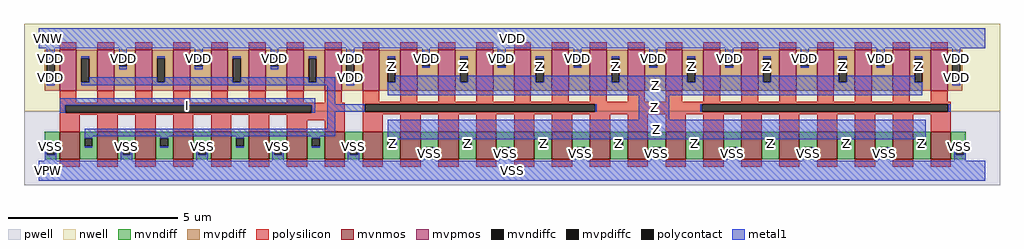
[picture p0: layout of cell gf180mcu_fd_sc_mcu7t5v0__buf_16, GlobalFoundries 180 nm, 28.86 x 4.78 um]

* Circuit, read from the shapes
.subckt gf180mcu_fd_sc_mcu7t5v0__buf_16 I Z VDD VNW VPW VSS
XM1 n1 I VSS VPW nfet_06v0 w=0.82u l=0.6u m=8
XM2 Z n1 VSS VPW nfet_06v0 w=0.82u l=0.6u m=16
XM3 n1 I VDD VNW pfet_06v0 w=1.22u l=0.5u m=8
XM4 Z n1 VDD VNW pfet_06v0 w=1.22u l=0.5u m=16
.ends

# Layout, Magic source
magic
tech gf180mcuD
magscale 1 10
<< nwell >>
rect -86 352 5686 870
<< pwell >>
rect -86 -86 5686 352
<< mvnmos >>
rect 124 68 244 232
rect 348 68 468 232
rect 572 68 692 232
rect 796 68 916 232
rect 1020 68 1140 232
rect 1244 68 1364 232
rect 1468 68 1588 232
rect 1692 68 1812 232
rect 1916 68 2036 232
rect 2140 68 2260 232
rect 2364 68 2484 232
rect 2588 68 2708 232
rect 2812 68 2932 232
rect 3036 68 3156 232
rect 3260 68 3380 232
rect 3484 68 3604 232
rect 3708 68 3828 232
rect 3932 68 4052 232
rect 4156 68 4276 232
rect 4380 68 4500 232
rect 4604 68 4724 232
rect 4828 68 4948 232
rect 5052 68 5172 232
rect 5276 68 5396 232
<< mvpmos >>
rect 124 472 224 716
rect 348 472 448 716
rect 572 472 672 716
rect 796 472 896 716
rect 1020 472 1120 716
rect 1244 472 1344 716
rect 1468 472 1568 716
rect 1692 472 1792 716
rect 1916 472 2016 716
rect 2140 472 2240 716
rect 2364 472 2464 716
rect 2588 472 2688 716
rect 2812 472 2912 716
rect 3036 472 3136 716
rect 3260 472 3360 716
rect 3484 472 3584 716
rect 3708 472 3808 716
rect 3932 472 4032 716
rect 4156 472 4256 716
rect 4380 472 4480 716
rect 4604 472 4704 716
rect 4828 472 4928 716
rect 5052 472 5152 716
rect 5276 472 5376 716
<< mvndiff >>
rect 36 142 124 232
rect 36 96 49 142
rect 95 96 124 142
rect 36 68 124 96
rect 244 192 348 232
rect 244 146 273 192
rect 319 146 348 192
rect 244 68 348 146
rect 468 142 572 232
rect 468 96 497 142
rect 543 96 572 142
rect 468 68 572 96
rect 692 192 796 232
rect 692 146 721 192
rect 767 146 796 192
rect 692 68 796 146
rect 916 142 1020 232
rect 916 96 945 142
rect 991 96 1020 142
rect 916 68 1020 96
rect 1140 192 1244 232
rect 1140 146 1169 192
rect 1215 146 1244 192
rect 1140 68 1244 146
rect 1364 142 1468 232
rect 1364 96 1393 142
rect 1439 96 1468 142
rect 1364 68 1468 96
rect 1588 192 1692 232
rect 1588 146 1617 192
rect 1663 146 1692 192
rect 1588 68 1692 146
rect 1812 142 1916 232
rect 1812 96 1841 142
rect 1887 96 1916 142
rect 1812 68 1916 96
rect 2036 192 2140 232
rect 2036 146 2065 192
rect 2111 146 2140 192
rect 2036 68 2140 146
rect 2260 140 2364 232
rect 2260 94 2289 140
rect 2335 94 2364 140
rect 2260 68 2364 94
rect 2484 192 2588 232
rect 2484 146 2513 192
rect 2559 146 2588 192
rect 2484 68 2588 146
rect 2708 140 2812 232
rect 2708 94 2737 140
rect 2783 94 2812 140
rect 2708 68 2812 94
rect 2932 192 3036 232
rect 2932 146 2961 192
rect 3007 146 3036 192
rect 2932 68 3036 146
rect 3156 140 3260 232
rect 3156 94 3185 140
rect 3231 94 3260 140
rect 3156 68 3260 94
rect 3380 192 3484 232
rect 3380 146 3409 192
rect 3455 146 3484 192
rect 3380 68 3484 146
rect 3604 140 3708 232
rect 3604 94 3633 140
rect 3679 94 3708 140
rect 3604 68 3708 94
rect 3828 192 3932 232
rect 3828 146 3857 192
rect 3903 146 3932 192
rect 3828 68 3932 146
rect 4052 140 4156 232
rect 4052 94 4081 140
rect 4127 94 4156 140
rect 4052 68 4156 94
rect 4276 192 4380 232
rect 4276 146 4305 192
rect 4351 146 4380 192
rect 4276 68 4380 146
rect 4500 140 4604 232
rect 4500 94 4529 140
rect 4575 94 4604 140
rect 4500 68 4604 94
rect 4724 192 4828 232
rect 4724 146 4753 192
rect 4799 146 4828 192
rect 4724 68 4828 146
rect 4948 140 5052 232
rect 4948 94 4977 140
rect 5023 94 5052 140
rect 4948 68 5052 94
rect 5172 192 5276 232
rect 5172 146 5201 192
rect 5247 146 5276 192
rect 5172 68 5276 146
rect 5396 142 5484 232
rect 5396 96 5425 142
rect 5471 96 5484 142
rect 5396 68 5484 96
<< mvpdiff >>
rect 36 665 124 716
rect 36 525 49 665
rect 95 525 124 665
rect 36 472 124 525
rect 224 665 348 716
rect 224 525 253 665
rect 299 525 348 665
rect 224 472 348 525
rect 448 665 572 716
rect 448 619 477 665
rect 523 619 572 665
rect 448 472 572 619
rect 672 665 796 716
rect 672 525 701 665
rect 747 525 796 665
rect 672 472 796 525
rect 896 665 1020 716
rect 896 619 925 665
rect 971 619 1020 665
rect 896 472 1020 619
rect 1120 665 1244 716
rect 1120 525 1149 665
rect 1195 525 1244 665
rect 1120 472 1244 525
rect 1344 665 1468 716
rect 1344 619 1373 665
rect 1419 619 1468 665
rect 1344 472 1468 619
rect 1568 665 1692 716
rect 1568 525 1597 665
rect 1643 525 1692 665
rect 1568 472 1692 525
rect 1792 665 1916 716
rect 1792 525 1821 665
rect 1867 525 1916 665
rect 1792 472 1916 525
rect 2016 665 2140 716
rect 2016 525 2065 665
rect 2111 525 2140 665
rect 2016 472 2140 525
rect 2240 665 2364 716
rect 2240 619 2269 665
rect 2315 619 2364 665
rect 2240 472 2364 619
rect 2464 665 2588 716
rect 2464 525 2493 665
rect 2539 525 2588 665
rect 2464 472 2588 525
rect 2688 665 2812 716
rect 2688 619 2717 665
rect 2763 619 2812 665
rect 2688 472 2812 619
rect 2912 665 3036 716
rect 2912 525 2941 665
rect 2987 525 3036 665
rect 2912 472 3036 525
rect 3136 665 3260 716
rect 3136 619 3165 665
rect 3211 619 3260 665
rect 3136 472 3260 619
rect 3360 665 3484 716
rect 3360 525 3389 665
rect 3435 525 3484 665
rect 3360 472 3484 525
rect 3584 665 3708 716
rect 3584 619 3613 665
rect 3659 619 3708 665
rect 3584 472 3708 619
rect 3808 665 3932 716
rect 3808 525 3837 665
rect 3883 525 3932 665
rect 3808 472 3932 525
rect 4032 665 4156 716
rect 4032 619 4061 665
rect 4107 619 4156 665
rect 4032 472 4156 619
rect 4256 665 4380 716
rect 4256 525 4285 665
rect 4331 525 4380 665
rect 4256 472 4380 525
rect 4480 665 4604 716
rect 4480 619 4509 665
rect 4555 619 4604 665
rect 4480 472 4604 619
rect 4704 665 4828 716
rect 4704 525 4733 665
rect 4779 525 4828 665
rect 4704 472 4828 525
rect 4928 665 5052 716
rect 4928 619 4957 665
rect 5003 619 5052 665
rect 4928 472 5052 619
rect 5152 665 5276 716
rect 5152 525 5181 665
rect 5227 525 5276 665
rect 5152 472 5276 525
rect 5376 665 5464 716
rect 5376 525 5405 665
rect 5451 525 5464 665
rect 5376 472 5464 525
<< mvndiffc >>
rect 49 96 95 142
rect 273 146 319 192
rect 497 96 543 142
rect 721 146 767 192
rect 945 96 991 142
rect 1169 146 1215 192
rect 1393 96 1439 142
rect 1617 146 1663 192
rect 1841 96 1887 142
rect 2065 146 2111 192
rect 2289 94 2335 140
rect 2513 146 2559 192
rect 2737 94 2783 140
rect 2961 146 3007 192
rect 3185 94 3231 140
rect 3409 146 3455 192
rect 3633 94 3679 140
rect 3857 146 3903 192
rect 4081 94 4127 140
rect 4305 146 4351 192
rect 4529 94 4575 140
rect 4753 146 4799 192
rect 4977 94 5023 140
rect 5201 146 5247 192
rect 5425 96 5471 142
<< mvpdiffc >>
rect 49 525 95 665
rect 253 525 299 665
rect 477 619 523 665
rect 701 525 747 665
rect 925 619 971 665
rect 1149 525 1195 665
rect 1373 619 1419 665
rect 1597 525 1643 665
rect 1821 525 1867 665
rect 2065 525 2111 665
rect 2269 619 2315 665
rect 2493 525 2539 665
rect 2717 619 2763 665
rect 2941 525 2987 665
rect 3165 619 3211 665
rect 3389 525 3435 665
rect 3613 619 3659 665
rect 3837 525 3883 665
rect 4061 619 4107 665
rect 4285 525 4331 665
rect 4509 619 4555 665
rect 4733 525 4779 665
rect 4957 619 5003 665
rect 5181 525 5227 665
rect 5405 525 5451 665
<< polysilicon >>
rect 124 716 224 760
rect 348 716 448 760
rect 572 716 672 760
rect 796 716 896 760
rect 1020 716 1120 760
rect 1244 716 1344 760
rect 1468 716 1568 760
rect 1692 716 1792 760
rect 1916 716 2016 760
rect 2140 716 2240 760
rect 2364 716 2464 760
rect 2588 716 2688 760
rect 2812 716 2912 760
rect 3036 716 3136 760
rect 3260 716 3360 760
rect 3484 716 3584 760
rect 3708 716 3808 760
rect 3932 716 4032 760
rect 4156 716 4256 760
rect 4380 716 4480 760
rect 4604 716 4704 760
rect 4828 716 4928 760
rect 5052 716 5152 760
rect 5276 716 5376 760
rect 124 402 224 472
rect 348 402 448 472
rect 572 402 672 472
rect 796 402 896 472
rect 1020 402 1120 472
rect 1244 402 1344 472
rect 1468 402 1568 472
rect 1692 402 1792 472
rect 1916 407 2016 472
rect 2140 407 2240 472
rect 2364 407 2464 472
rect 2588 407 2688 472
rect 2812 407 2912 472
rect 3036 407 3136 472
rect 3260 407 3360 472
rect 3484 407 3584 472
rect 3708 407 3808 472
rect 3932 407 4032 472
rect 4156 407 4256 472
rect 4380 407 4480 472
rect 4604 407 4704 472
rect 4828 407 4928 472
rect 5052 407 5152 472
rect 5276 407 5376 472
rect 124 389 1812 402
rect 124 343 159 389
rect 1615 343 1812 389
rect 124 330 1812 343
rect 124 232 244 330
rect 348 232 468 330
rect 572 232 692 330
rect 796 232 916 330
rect 1020 232 1140 330
rect 1244 232 1364 330
rect 1468 300 1812 330
rect 1468 232 1588 300
rect 1692 232 1812 300
rect 1916 394 5396 407
rect 1916 348 1929 394
rect 3291 348 3923 394
rect 5379 348 5396 394
rect 1916 335 5396 348
rect 1916 232 2036 335
rect 2140 232 2260 335
rect 2364 232 2484 335
rect 2588 232 2708 335
rect 2812 232 2932 335
rect 3036 232 3156 335
rect 3260 232 3380 335
rect 3484 232 3604 335
rect 3708 232 3828 335
rect 3932 232 4052 335
rect 4156 232 4276 335
rect 4380 232 4500 335
rect 4604 232 4724 335
rect 4828 232 4948 335
rect 5052 232 5172 335
rect 5276 232 5396 335
rect 124 24 244 68
rect 348 24 468 68
rect 572 24 692 68
rect 796 24 916 68
rect 1020 24 1140 68
rect 1244 24 1364 68
rect 1468 24 1588 68
rect 1692 24 1812 68
rect 1916 24 2036 68
rect 2140 24 2260 68
rect 2364 24 2484 68
rect 2588 24 2708 68
rect 2812 24 2932 68
rect 3036 24 3156 68
rect 3260 24 3380 68
rect 3484 24 3604 68
rect 3708 24 3828 68
rect 3932 24 4052 68
rect 4156 24 4276 68
rect 4380 24 4500 68
rect 4604 24 4724 68
rect 4828 24 4948 68
rect 5052 24 5172 68
rect 5276 24 5396 68
<< polycontact >>
rect 159 343 1615 389
rect 1929 348 3291 394
rect 3923 348 5379 394
<< metal1 >>
rect 0 724 5600 844
rect 49 665 95 724
rect 49 506 95 525
rect 253 665 299 676
rect 477 665 523 724
rect 477 600 523 619
rect 701 665 747 676
rect 299 525 701 552
rect 925 665 971 724
rect 925 600 971 619
rect 1149 665 1195 676
rect 747 525 1149 552
rect 1373 665 1419 724
rect 1373 600 1419 619
rect 1597 665 1643 676
rect 1195 525 1597 552
rect 1821 665 1867 724
rect 1643 525 1754 552
rect 253 506 1754 525
rect 1821 506 1867 525
rect 2065 665 2111 676
rect 2269 665 2315 724
rect 2269 608 2315 619
rect 2493 665 2539 676
rect 2111 525 2493 562
rect 2717 665 2763 724
rect 2717 608 2763 619
rect 2941 665 2987 676
rect 2539 525 2941 562
rect 3165 665 3211 724
rect 3165 608 3211 619
rect 3389 665 3435 676
rect 2987 525 3389 562
rect 3613 665 3659 724
rect 3613 608 3659 619
rect 3837 665 3883 676
rect 3435 525 3837 562
rect 4061 665 4107 724
rect 4061 608 4107 619
rect 4285 665 4331 676
rect 3883 525 4285 562
rect 4509 665 4555 724
rect 4509 608 4555 619
rect 4733 665 4779 676
rect 4331 525 4733 562
rect 4957 665 5003 724
rect 4957 608 5003 619
rect 5181 665 5227 676
rect 4779 525 5181 562
rect 124 389 1637 430
rect 124 343 159 389
rect 1615 343 1637 389
rect 124 342 1637 343
rect 1707 394 1754 506
rect 2065 446 5227 525
rect 5405 665 5451 724
rect 5405 506 5451 525
rect 1707 348 1929 394
rect 3291 348 3302 394
rect 1707 250 1754 348
rect 3550 302 3730 446
rect 3912 348 3923 394
rect 5379 348 5396 394
rect 273 203 1754 250
rect 273 192 319 203
rect 38 142 106 153
rect 38 96 49 142
rect 95 96 106 142
rect 721 192 767 203
rect 273 135 319 146
rect 486 142 554 153
rect 38 60 106 96
rect 486 96 497 142
rect 543 96 554 142
rect 1169 192 1215 203
rect 721 135 767 146
rect 934 142 1002 153
rect 486 60 554 96
rect 934 96 945 142
rect 991 96 1002 142
rect 1617 192 1663 203
rect 1169 135 1215 146
rect 1382 142 1450 153
rect 934 60 1002 96
rect 1382 96 1393 142
rect 1439 96 1450 142
rect 2065 192 5247 302
rect 1617 135 1663 146
rect 1830 142 1898 153
rect 1382 60 1450 96
rect 1830 96 1841 142
rect 1887 96 1898 142
rect 2111 186 2513 192
rect 2111 146 2117 186
rect 2065 135 2117 146
rect 2559 186 2961 192
rect 1830 60 1898 96
rect 2278 94 2289 140
rect 2335 94 2346 140
rect 2513 135 2559 146
rect 3007 186 3409 192
rect 2278 60 2346 94
rect 2726 94 2737 140
rect 2783 94 2794 140
rect 2961 135 3007 146
rect 3455 186 3857 192
rect 2726 60 2794 94
rect 3174 94 3185 140
rect 3231 94 3242 140
rect 3409 135 3455 146
rect 3903 186 4305 192
rect 3174 60 3242 94
rect 3622 94 3633 140
rect 3679 94 3690 140
rect 3857 135 3903 146
rect 4351 186 4753 192
rect 3622 60 3690 94
rect 4070 94 4081 140
rect 4127 94 4138 140
rect 4305 135 4351 146
rect 4799 186 5201 192
rect 4070 60 4138 94
rect 4518 94 4529 140
rect 4575 94 4586 140
rect 4753 135 4799 146
rect 4518 60 4586 94
rect 4966 94 4977 140
rect 5023 94 5034 140
rect 5201 135 5247 146
rect 5414 142 5482 153
rect 4966 60 5034 94
rect 5414 96 5425 142
rect 5471 96 5482 142
rect 5414 60 5482 96
rect 0 -60 5600 60
<< labels >>
flabel metal1 s 5181 562 5227 676 0 FreeSans 600 0 0 0 Z
port 2 nsew default output
flabel metal1 s 124 342 1637 430 0 FreeSans 600 0 0 0 I
port 1 nsew default input
flabel metal1 s 0 724 5600 844 0 FreeSans 400 0 0 0 VDD
port 3 nsew power bidirectional abutment
flabel metal1 s 5414 140 5482 153 0 FreeSans 400 0 0 0 VSS
port 6 nsew ground bidirectional abutment
flabel nwell s 10 734 110 834 0 FreeSans 400 0 0 0 VNW
port 4 nsew power bidirectional
flabel pwell s 10 -50 110 50 0 FreeSans 400 0 0 0 VPW
port 5 nsew ground bidirectional
rlabel metal1 s 4733 562 4779 676 1 Z
port 2 nsew default output
rlabel metal1 s 4285 562 4331 676 1 Z
port 2 nsew default output
rlabel metal1 s 3837 562 3883 676 1 Z
port 2 nsew default output
rlabel metal1 s 3389 562 3435 676 1 Z
port 2 nsew default output
rlabel metal1 s 2941 562 2987 676 1 Z
port 2 nsew default output
rlabel metal1 s 2493 562 2539 676 1 Z
port 2 nsew default output
rlabel metal1 s 2065 562 2111 676 1 Z
port 2 nsew default output
rlabel metal1 s 2065 446 5227 562 1 Z
port 2 nsew default output
rlabel metal1 s 3550 302 3730 446 1 Z
port 2 nsew default output
rlabel metal1 s 2065 186 5247 302 1 Z
port 2 nsew default output
rlabel metal1 s 5201 135 5247 186 1 Z
port 2 nsew default output
rlabel metal1 s 4753 135 4799 186 1 Z
port 2 nsew default output
rlabel metal1 s 4305 135 4351 186 1 Z
port 2 nsew default output
rlabel metal1 s 3857 135 3903 186 1 Z
port 2 nsew default output
rlabel metal1 s 3409 135 3455 186 1 Z
port 2 nsew default output
rlabel metal1 s 2961 135 3007 186 1 Z
port 2 nsew default output
rlabel metal1 s 2513 135 2559 186 1 Z
port 2 nsew default output
rlabel metal1 s 2065 135 2117 186 1 Z
port 2 nsew default output
rlabel metal1 s 5405 608 5451 724 1 VDD
port 3 nsew power bidirectional abutment
rlabel metal1 s 4957 608 5003 724 1 VDD
port 3 nsew power bidirectional abutment
rlabel metal1 s 4509 608 4555 724 1 VDD
port 3 nsew power bidirectional abutment
rlabel metal1 s 4061 608 4107 724 1 VDD
port 3 nsew power bidirectional abutment
rlabel metal1 s 3613 608 3659 724 1 VDD
port 3 nsew power bidirectional abutment
rlabel metal1 s 3165 608 3211 724 1 VDD
port 3 nsew power bidirectional abutment
rlabel metal1 s 2717 608 2763 724 1 VDD
port 3 nsew power bidirectional abutment
rlabel metal1 s 2269 608 2315 724 1 VDD
port 3 nsew power bidirectional abutment
rlabel metal1 s 1821 608 1867 724 1 VDD
port 3 nsew power bidirectional abutment
rlabel metal1 s 1373 608 1419 724 1 VDD
port 3 nsew power bidirectional abutment
rlabel metal1 s 925 608 971 724 1 VDD
port 3 nsew power bidirectional abutment
rlabel metal1 s 477 608 523 724 1 VDD
port 3 nsew power bidirectional abutment
rlabel metal1 s 49 608 95 724 1 VDD
port 3 nsew power bidirectional abutment
rlabel metal1 s 5405 600 5451 608 1 VDD
port 3 nsew power bidirectional abutment
rlabel metal1 s 1821 600 1867 608 1 VDD
port 3 nsew power bidirectional abutment
rlabel metal1 s 1373 600 1419 608 1 VDD
port 3 nsew power bidirectional abutment
rlabel metal1 s 925 600 971 608 1 VDD
port 3 nsew power bidirectional abutment
rlabel metal1 s 477 600 523 608 1 VDD
port 3 nsew power bidirectional abutment
rlabel metal1 s 49 600 95 608 1 VDD
port 3 nsew power bidirectional abutment
rlabel metal1 s 5405 506 5451 600 1 VDD
port 3 nsew power bidirectional abutment
rlabel metal1 s 1821 506 1867 600 1 VDD
port 3 nsew power bidirectional abutment
rlabel metal1 s 49 506 95 600 1 VDD
port 3 nsew power bidirectional abutment
rlabel metal1 s 1830 140 1898 153 1 VSS
port 6 nsew ground bidirectional abutment
rlabel metal1 s 1382 140 1450 153 1 VSS
port 6 nsew ground bidirectional abutment
rlabel metal1 s 934 140 1002 153 1 VSS
port 6 nsew ground bidirectional abutment
rlabel metal1 s 486 140 554 153 1 VSS
port 6 nsew ground bidirectional abutment
rlabel metal1 s 38 140 106 153 1 VSS
port 6 nsew ground bidirectional abutment
rlabel metal1 s 5414 60 5482 140 1 VSS
port 6 nsew ground bidirectional abutment
rlabel metal1 s 4966 60 5034 140 1 VSS
port 6 nsew ground bidirectional abutment
rlabel metal1 s 4518 60 4586 140 1 VSS
port 6 nsew ground bidirectional abutment
rlabel metal1 s 4070 60 4138 140 1 VSS
port 6 nsew ground bidirectional abutment
rlabel metal1 s 3622 60 3690 140 1 VSS
port 6 nsew ground bidirectional abutment
rlabel metal1 s 3174 60 3242 140 1 VSS
port 6 nsew ground bidirectional abutment
rlabel metal1 s 2726 60 2794 140 1 VSS
port 6 nsew ground bidirectional abutment
rlabel metal1 s 2278 60 2346 140 1 VSS
port 6 nsew ground bidirectional abutment
rlabel metal1 s 1830 60 1898 140 1 VSS
port 6 nsew ground bidirectional abutment
rlabel metal1 s 1382 60 1450 140 1 VSS
port 6 nsew ground bidirectional abutment
rlabel metal1 s 934 60 1002 140 1 VSS
port 6 nsew ground bidirectional abutment
rlabel metal1 s 486 60 554 140 1 VSS
port 6 nsew ground bidirectional abutment
rlabel metal1 s 38 60 106 140 1 VSS
port 6 nsew ground bidirectional abutment
rlabel metal1 s 0 -60 5600 60 1 VSS
port 6 nsew ground bidirectional abutment
<< properties >>
string FIXED_BBOX 0 0 5600 784
string GDS_END 1372732
string GDS_FILE $PDKPATH/libs.ref/gf180mcu_fd_sc_mcu7t5v0/gds/gf180mcu_fd_sc_mcu7t5v0.gds
string GDS_START 1360696
string LEFclass core
string LEFsite GF018hv5v_mcu_sc7
string LEFsymmetry X Y
<< end >>
